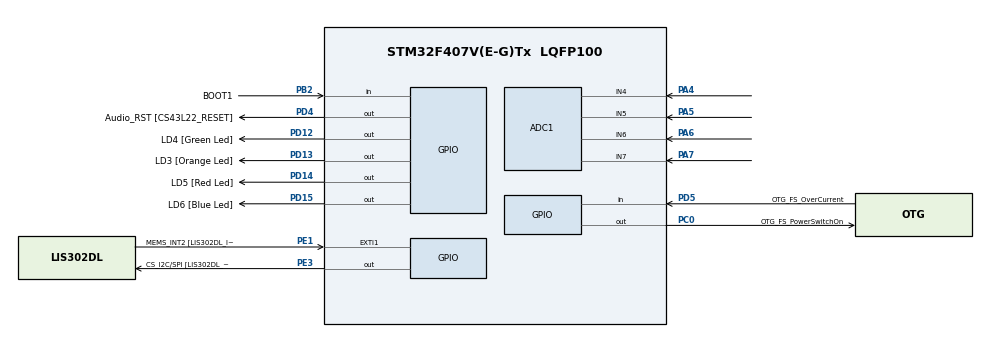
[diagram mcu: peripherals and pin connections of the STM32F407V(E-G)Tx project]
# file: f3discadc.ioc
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ADC1.Channel-5\#ChannelRegularConversion=ADC_CHANNEL_4
ADC1.Channel-6\#ChannelRegularConversion=ADC_CHANNEL_5
ADC1.Channel-7\#ChannelRegularConversion=ADC_CHANNEL_6
ADC1.Channel-8\#ChannelRegularConversion=ADC_CHANNEL_7
ADC1.ContinuousConvMode=ENABLE
ADC1.DMAContinuousRequests=ENABLE
ADC1.NbrOfConversion=4
ADC1.NbrOfConversionFlag=1
ADC1.Rank-5\#ChannelRegularConversion=1
ADC1.Rank-6\#ChannelRegularConversion=2
ADC1.Rank-7\#ChannelRegularConversion=3
ADC1.Rank-8\#ChannelRegularConversion=4
ADC1.SamplingTime-5\#ChannelRegularConversion=ADC_SAMPLETIME_15CYCLES
ADC1.SamplingTime-6\#ChannelRegularConversion=ADC_SAMPLETIME_15CYCLES
ADC1.SamplingTime-7\#ChannelRegularConversion=ADC_SAMPLETIME_15CYCLES
ADC1.SamplingTime-8\#ChannelRegularConversion=ADC_SAMPLETIME_15CYCLES
ADC1.master=1
Dma.ADC1.0.Direction=DMA_PERIPH_TO_MEMORY
Dma.ADC1.0.FIFOMode=DMA_FIFOMODE_DISABLE
Dma.ADC1.0.Instance=DMA2_Stream4
Dma.ADC1.0.MemDataAlignment=DMA_MDATAALIGN_HALFWORD
Dma.ADC1.0.MemInc=DMA_MINC_ENABLE
Dma.ADC1.0.Mode=DMA_CIRCULAR
Dma.ADC1.0.PeriphDataAlignment=DMA_PDATAALIGN_HALFWORD
Dma.ADC1.0.PeriphInc=DMA_PINC_DISABLE
Dma.ADC1.0.Priority=DMA_PRIORITY_LOW
Dma.Request0=ADC1
Mcu.Family=STM32F4
Mcu.Name=STM32F407V(E-G)Tx
Mcu.Package=LQFP100
NVIC.DMA2_Stream4_IRQn=true\:0\:0\:false\:false\:true\:false\:true
NVIC.PriorityGroup=NVIC_PRIORITYGROUP_0
PA0-WKUP.Signal=ADCx_IN0
PA10.GPIO_Label=OTG_FS_ID
PA10.GPIO_Mode=GPIO_MODE_AF_PP
PA10.GPIO_PuPd=GPIO_NOPULL
PA10.GPIO_Speed=GPIO_SPEED_FREQ_LOW
PA10.Signal=USB_OTG_FS_ID
PA11.GPIO_Label=OTG_FS_DM
PA11.GPIO_Mode=GPIO_MODE_AF_PP
PA11.GPIO_PuPd=GPIO_NOPULL
PA11.GPIO_Speed=GPIO_SPEED_FREQ_LOW
PA11.Signal=USB_OTG_FS_DM
PA12.GPIO_Label=OTG_FS_DP
PA12.GPIO_Mode=GPIO_MODE_AF_PP
PA12.GPIO_PuPd=GPIO_NOPULL
PA12.GPIO_Speed=GPIO_SPEED_FREQ_LOW
PA12.Signal=USB_OTG_FS_DP
PA13.GPIO_Label=SWDIO
PA13.Signal=SYS_JTMS-SWDIO
PA14.GPIO_Label=SWCLK
PA14.Signal=SYS_JTCK-SWCLK
PA4.Signal=ADCx_IN4
PA5.Signal=ADCx_IN5
PA6.Signal=ADCx_IN6
PA7.Signal=ADCx_IN7
PB10.GPIO_Label=CLK_IN [MP45DT02_CLK]
PB10.GPIO_Mode=GPIO_MODE_AF_PP
PB10.GPIO_PuPd=GPIO_NOPULL
PB10.GPIO_Speed=GPIO_SPEED_FREQ_LOW
PB10.Signal=I2S2_CK
PB2.GPIO_Label=BOOT1
PB2.GPIO_Mode=GPIO_MODE_INPUT
PB2.GPIO_PuPd=GPIO_NOPULL
PB2.Signal=GPIO_Input
PB3.GPIO_Label=SWO
PB3.Signal=SYS_JTDO-SWO
PB6.GPIO_Label=Audio_SCL [CS43L22_SCL]
PB6.GPIO_Mode=GPIO_MODE_AF_OD
PB6.GPIO_PuPd=GPIO_NOPULL
PB6.GPIO_Speed=GPIO_SPEED_FREQ_LOW
PB6.Signal=I2C1_SCL
PB9.GPIO_Label=Audio_SDA [CS43L22_SDA]
PB9.GPIO_Mode=GPIO_MODE_AF_OD
PB9.GPIO_PuPd=GPIO_NOPULL
PB9.GPIO_Speed=GPIO_SPEED_FREQ_LOW
PB9.Signal=I2C1_SDA
PC0.GPIO_Label=OTG_FS_PowerSwitchOn
PC0.GPIO_PuPd=GPIO_NOPULL
PC0.GPIO_Speed=GPIO_SPEED_FREQ_LOW
PC0.PinState=GPIO_PIN_SET
PC0.Signal=GPIO_Output
PC10.GPIO_Label=I2S3_SCK [CS43L22_SCLK]
PC10.GPIO_Mode=GPIO_MODE_AF_PP
PC10.GPIO_PuPd=GPIO_NOPULL
PC10.GPIO_Speed=GPIO_SPEED_FREQ_LOW
PC10.Signal=I2S3_CK
PC12.GPIO_Label=I2S3_SD [CS43L22_SDIN]
PC12.GPIO_Mode=GPIO_MODE_AF_PP
PC12.GPIO_PuPd=GPIO_NOPULL
PC12.GPIO_Speed=GPIO_SPEED_FREQ_LOW
PC12.Signal=I2S3_SD
PC14-OSC32_IN.GPIO_Label=PC14-OSC32_IN
PC14-OSC32_IN.Signal=RCC_OSC32_IN
PC15-OSC32_OUT.GPIO_Label=PC15-OSC32_OUT
PC15-OSC32_OUT.Signal=RCC_OSC32_OUT
PC3.GPIO_Label=PDM_OUT [MP45DT02_DOUT]
PC3.GPIO_Mode=GPIO_MODE_AF_PP
PC3.GPIO_PuPd=GPIO_NOPULL
PC3.GPIO_Speed=GPIO_SPEED_FREQ_LOW
PC3.Signal=I2S2_SD
PC7.GPIO_Label=I2S3_MCK [CS43L22_MCLK]
PC7.GPIO_Mode=GPIO_MODE_AF_PP
PC7.GPIO_PuPd=GPIO_NOPULL
PC7.GPIO_Speed=GPIO_SPEED_FREQ_LOW
PC7.Signal=I2S3_MCK
PD12.GPIO_Label=LD4 [Green Led]
PD12.GPIO_PuPd=GPIO_NOPULL
PD12.GPIO_Speed=GPIO_SPEED_FREQ_LOW
PD12.Signal=GPIO_Output
PD13.GPIO_Label=LD3 [Orange Led]
PD13.GPIO_PuPd=GPIO_NOPULL
PD13.GPIO_Speed=GPIO_SPEED_FREQ_LOW
PD13.Signal=GPIO_Output
PD14.GPIO_Label=LD5 [Red Led]
PD14.GPIO_PuPd=GPIO_NOPULL
PD14.GPIO_Speed=GPIO_SPEED_FREQ_LOW
PD14.Signal=GPIO_Output
PD15.GPIO_Label=LD6 [Blue Led]
PD15.GPIO_PuPd=GPIO_NOPULL
PD15.GPIO_Speed=GPIO_SPEED_FREQ_LOW
PD15.Signal=GPIO_Output
PD4.GPIO_Label=Audio_RST [CS43L22_RESET]
PD4.GPIO_PuPd=GPIO_NOPULL
PD4.GPIO_Speed=GPIO_SPEED_FREQ_LOW
PD4.Signal=GPIO_Output
PD5.GPIO_Label=OTG_FS_OverCurrent
PD5.GPIO_Mode=GPIO_MODE_INPUT
PD5.GPIO_PuPd=GPIO_NOPULL
PD5.Signal=GPIO_Input
PE1.GPIO_Label=MEMS_INT2 [LIS302DL_INT2]
PE1.GPIO_ModeDefaultEXTI=GPIO_MODE_EVT_RISING
PE1.GPIO_PuPd=GPIO_NOPULL
PE1.Signal=GPXTI1
PE3.GPIO_Label=CS_I2C/SPI [LIS302DL_CS_I2C/SPI]
PE3.GPIO_PuPd=GPIO_NOPULL
PE3.GPIO_Speed=GPIO_SPEED_FREQ_LOW
PE3.Signal=GPIO_Output
PH0-OSC_IN.GPIO_Label=PH0-OSC_IN
PH0-OSC_IN.Mode=HSE-External-Oscillator
PH0-OSC_IN.Signal=RCC_OSC_IN
PH1-OSC_OUT.GPIO_Label=PH1-OSC_OUT
PH1-OSC_OUT.Mode=HSE-External-Oscillator
PH1-OSC_OUT.Signal=RCC_OSC_OUT
ProjectManager.HeapSize=0x4000
ProjectManager.StackSize=0x4000
ProjectManager.TargetToolchain=STM32CubeIDE
RCC.48MHZClocksFreq_Value=48000000
RCC.AHBFreq_Value=168000000
RCC.APB1CLKDivider=RCC_HCLK_DIV4
RCC.APB1Freq_Value=42000000
RCC.APB1TimFreq_Value=84000000
RCC.APB2CLKDivider=RCC_HCLK_DIV2
RCC.APB2Freq_Value=84000000
RCC.APB2TimFreq_Value=168000000
RCC.CortexFreq_Value=168000000
RCC.HCLKFreq_Value=168000000
RCC.HSE_VALUE=8000000
RCC.HSI_VALUE=16000000
RCC.LSE_VALUE=32768
RCC.PLLM=4
RCC.PLLN=168
RCC.PLLQ=7
RCC.PLLSourceVirtual=RCC_PLLSOURCE_HSE
RCC.SYSCLKFreq_VALUE=168000000
RCC.SYSCLKSource=RCC_SYSCLKSOURCE_PLLCLK
RCC.VCOOutputFreq_Value=336000000
SH.ADCx_IN0.0=ADC1_IN0
SH.ADCx_IN4.0=ADC1_IN4,IN4
SH.ADCx_IN5.0=ADC1_IN5,IN5
SH.ADCx_IN6.0=ADC1_IN6,IN6
SH.ADCx_IN7.0=ADC1_IN7,IN7
board=STM32F407G-DISC1

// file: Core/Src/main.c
/* USER CODE BEGIN Header */
/**
 ******************************************************************************
 * @file           : main.c
 * @brief          : Main program body
 ******************************************************************************
 * @attention
 *
 * <h2><center>&copy; Copyright (c) 2020 STMicroelectronics.
 * All rights reserved.</center></h2>
 *
 * This software component is licensed by ST under BSD 3-Clause license,
 * the "License"; You may not use this file except in compliance with the
 * License. You may obtain a copy of the License at:
 *                        opensource.org/licenses/BSD-3-Clause
 *
 ******************************************************************************
 */
/* USER CODE END Header */

#include "main.h"

void SystemClock_Config(void);
static void MX_GPIO_Init(void);
static void MX_DMA_Init(void);
static void MX_ADC1_Init(void);

/* USER CODE BEGIN 0 */
volatile int s_flag = 0;
void hoge(void) {
	if (LL_DMA_IsActiveFlag_TC4(DMA2)) {
		LL_DMA_ClearFlag_TC4(DMA2);
		LL_ADC_ClearFlag_EOCS(ADC1);
		s_flag = 1;
	}
}
/* USER CODE END 0 */

int main(void)
{

  /* MCU Configuration--------------------------------------------------------*/

  /* Reset of all peripherals, Initializes the Flash interface and the Systick. */

  LL_APB2_GRP1_EnableClock(LL_APB2_GRP1_PERIPH_SYSCFG);
  LL_APB1_GRP1_EnableClock(LL_APB1_GRP1_PERIPH_PWR);

  NVIC_SetPriorityGrouping(NVIC_PRIORITYGROUP_0);

  /* System interrupt init*/

  /* Configure the system clock */
  SystemClock_Config();

  /* Initialize all configured peripherals */
  MX_GPIO_Init();
  MX_DMA_Init();
  MX_ADC1_Init();
  /* USER CODE BEGIN 2 */
	uint16_t data[4] = { 0 };
	LL_DMA_DisableStream(DMA2, LL_DMA_STREAM_4);
	LL_DMA_ConfigAddresses(DMA2, LL_DMA_STREAM_4,
			LL_ADC_DMA_GetRegAddr(ADC1, LL_ADC_DMA_REG_REGULAR_DATA),
			(uint32_t) data, LL_DMA_DIRECTION_PERIPH_TO_MEMORY);
	LL_DMA_SetDataLength(DMA2, LL_DMA_STREAM_4, sizeof(data) / sizeof(data[0]));
	LL_DMA_EnableStream(DMA2, LL_DMA_STREAM_4);
	LL_ADC_REG_StartConversionSWStart(ADC1);
	LL_DMA_EnableIT_TC(DMA2, LL_DMA_STREAM_4);
	LL_ADC_Enable(ADC1);
	LL_ADC_REG_StartConversionSWStart(ADC1);
  /* USER CODE END 2 */

  /* Infinite loop */
  /* USER CODE BEGIN WHILE */
	const uint16_t th = (1 << 11);
	while (1) {
    /* USER CODE END WHILE */

    /* USER CODE BEGIN 3 */
		while (s_flag == 0)
			;
		s_flag = 0;
		if (th <= data[0]) {
			LL_GPIO_SetOutputPin(GPIOD, LL_GPIO_PIN_12);
		} else {
			LL_GPIO_ResetOutputPin(GPIOD, LL_GPIO_PIN_12);
		}
		if (th <= data[1]) {
			LL_GPIO_SetOutputPin(GPIOD, LL_GPIO_PIN_13);
		} else {
			LL_GPIO_ResetOutputPin(GPIOD, LL_GPIO_PIN_13);
		}
		if (th <= data[2]) {
			LL_GPIO_SetOutputPin(GPIOD, LL_GPIO_PIN_14);
		} else {
			LL_GPIO_ResetOutputPin(GPIOD, LL_GPIO_PIN_14);
		}
		if (th <= data[3]) {
			LL_GPIO_SetOutputPin(GPIOD, LL_GPIO_PIN_15);
		} else {
			LL_GPIO_ResetOutputPin(GPIOD, LL_GPIO_PIN_15);
		}
	}
  /* USER CODE END 3 */
}

void SystemClock_Config(void)
{
  LL_FLASH_SetLatency(LL_FLASH_LATENCY_5);

  if(LL_FLASH_GetLatency() != LL_FLASH_LATENCY_5)
  {
  Error_Handler();
  }
  LL_PWR_SetRegulVoltageScaling(LL_PWR_REGU_VOLTAGE_SCALE1);
  LL_RCC_HSE_Enable();

   /* Wait till HSE is ready */
  while(LL_RCC_HSE_IsReady() != 1)
  {

  }
  LL_RCC_PLL_ConfigDomain_SYS(LL_RCC_PLLSOURCE_HSE, LL_RCC_PLLM_DIV_4, 168, LL_RCC_PLLP_DIV_2);
  LL_RCC_PLL_Enable();

   /* Wait till PLL is ready */
  while(LL_RCC_PLL_IsReady() != 1)
  {

  }
  LL_RCC_SetAHBPrescaler(LL_RCC_SYSCLK_DIV_1);
  LL_RCC_SetAPB1Prescaler(LL_RCC_APB1_DIV_4);
  LL_RCC_SetAPB2Prescaler(LL_RCC_APB2_DIV_2);
  LL_RCC_SetSysClkSource(LL_RCC_SYS_CLKSOURCE_PLL);

   /* Wait till System clock is ready */
  while(LL_RCC_GetSysClkSource() != LL_RCC_SYS_CLKSOURCE_STATUS_PLL)
  {

  }
  LL_Init1msTick(168000000);
  LL_SYSTICK_SetClkSource(LL_SYSTICK_CLKSOURCE_HCLK);
  LL_SetSystemCoreClock(168000000);
}

static void MX_ADC1_Init(void)
{

  LL_ADC_InitTypeDef ADC_InitStruct = {0};
  LL_ADC_REG_InitTypeDef ADC_REG_InitStruct = {0};
  LL_ADC_CommonInitTypeDef ADC_CommonInitStruct = {0};

  LL_GPIO_InitTypeDef GPIO_InitStruct = {0};

  /* Peripheral clock enable */
  LL_APB2_GRP1_EnableClock(LL_APB2_GRP1_PERIPH_ADC1);

  LL_AHB1_GRP1_EnableClock(LL_AHB1_GRP1_PERIPH_GPIOA);
  /**ADC1 GPIO Configuration
  PA0-WKUP   ------> ADC1_IN0
  PA4   ------> ADC1_IN4
  PA5   ------> ADC1_IN5
  PA6   ------> ADC1_IN6
  PA7   ------> ADC1_IN7
  */
  GPIO_InitStruct.Pin = LL_GPIO_PIN_0|LL_GPIO_PIN_4|LL_GPIO_PIN_5|LL_GPIO_PIN_6
                          |LL_GPIO_PIN_7;
  GPIO_InitStruct.Mode = LL_GPIO_MODE_ANALOG;
  GPIO_InitStruct.Pull = LL_GPIO_PULL_NO;
  LL_GPIO_Init(GPIOA, &GPIO_InitStruct);

  /* ADC1 DMA Init */

  /* ADC1 Init */
  LL_DMA_SetChannelSelection(DMA2, LL_DMA_STREAM_4, LL_DMA_CHANNEL_0);

  LL_DMA_SetDataTransferDirection(DMA2, LL_DMA_STREAM_4, LL_DMA_DIRECTION_PERIPH_TO_MEMORY);

  LL_DMA_SetStreamPriorityLevel(DMA2, LL_DMA_STREAM_4, LL_DMA_PRIORITY_LOW);

  LL_DMA_SetMode(DMA2, LL_DMA_STREAM_4, LL_DMA_MODE_CIRCULAR);

  LL_DMA_SetPeriphIncMode(DMA2, LL_DMA_STREAM_4, LL_DMA_PERIPH_NOINCREMENT);

  LL_DMA_SetMemoryIncMode(DMA2, LL_DMA_STREAM_4, LL_DMA_MEMORY_INCREMENT);

  LL_DMA_SetPeriphSize(DMA2, LL_DMA_STREAM_4, LL_DMA_PDATAALIGN_HALFWORD);

  LL_DMA_SetMemorySize(DMA2, LL_DMA_STREAM_4, LL_DMA_MDATAALIGN_HALFWORD);

  LL_DMA_DisableFifoMode(DMA2, LL_DMA_STREAM_4);

  /** Common config
  */
  ADC_InitStruct.Resolution = LL_ADC_RESOLUTION_12B;
  ADC_InitStruct.DataAlignment = LL_ADC_DATA_ALIGN_RIGHT;
  ADC_InitStruct.SequencersScanMode = LL_ADC_SEQ_SCAN_ENABLE;
  LL_ADC_Init(ADC1, &ADC_InitStruct);
  ADC_REG_InitStruct.TriggerSource = LL_ADC_REG_TRIG_SOFTWARE;
  ADC_REG_InitStruct.SequencerLength = LL_ADC_REG_SEQ_SCAN_ENABLE_4RANKS;
  ADC_REG_InitStruct.SequencerDiscont = LL_ADC_REG_SEQ_DISCONT_DISABLE;
  ADC_REG_InitStruct.ContinuousMode = LL_ADC_REG_CONV_CONTINUOUS;
  ADC_REG_InitStruct.DMATransfer = LL_ADC_REG_DMA_TRANSFER_UNLIMITED;
  LL_ADC_REG_Init(ADC1, &ADC_REG_InitStruct);
  LL_ADC_REG_SetFlagEndOfConversion(ADC1, LL_ADC_REG_FLAG_EOC_UNITARY_CONV);
  LL_ADC_DisableIT_EOCS(ADC1);
  ADC_CommonInitStruct.CommonClock = LL_ADC_CLOCK_SYNC_PCLK_DIV4;
  ADC_CommonInitStruct.Multimode = LL_ADC_MULTI_INDEPENDENT;
  LL_ADC_CommonInit(__LL_ADC_COMMON_INSTANCE(ADC1), &ADC_CommonInitStruct);
  /** Configure Regular Channel
  */
  LL_ADC_REG_SetSequencerRanks(ADC1, LL_ADC_REG_RANK_1, LL_ADC_CHANNEL_4);
  LL_ADC_SetChannelSamplingTime(ADC1, LL_ADC_CHANNEL_4, LL_ADC_SAMPLINGTIME_15CYCLES);
  /** Configure Regular Channel
  */
  LL_ADC_REG_SetSequencerRanks(ADC1, LL_ADC_REG_RANK_2, LL_ADC_CHANNEL_5);
  LL_ADC_SetChannelSamplingTime(ADC1, LL_ADC_CHANNEL_5, LL_ADC_SAMPLINGTIME_15CYCLES);
  /** Configure Regular Channel
  */
  LL_ADC_REG_SetSequencerRanks(ADC1, LL_ADC_REG_RANK_3, LL_ADC_CHANNEL_6);
  LL_ADC_SetChannelSamplingTime(ADC1, LL_ADC_CHANNEL_6, LL_ADC_SAMPLINGTIME_15CYCLES);
  /** Configure Regular Channel
  */
  LL_ADC_REG_SetSequencerRanks(ADC1, LL_ADC_REG_RANK_4, LL_ADC_CHANNEL_7);
  LL_ADC_SetChannelSamplingTime(ADC1, LL_ADC_CHANNEL_7, LL_ADC_SAMPLINGTIME_15CYCLES);

}

static void MX_DMA_Init(void)
{

  /* Init with LL driver */
  /* DMA controller clock enable */
  LL_AHB1_GRP1_EnableClock(LL_AHB1_GRP1_PERIPH_DMA2);

  /* DMA interrupt init */
  /* DMA2_Stream4_IRQn interrupt configuration */
  NVIC_SetPriority(DMA2_Stream4_IRQn, NVIC_EncodePriority(NVIC_GetPriorityGrouping(),0, 0));
  NVIC_EnableIRQ(DMA2_Stream4_IRQn);

}

static void MX_GPIO_Init(void)
{
  LL_EXTI_InitTypeDef EXTI_InitStruct = {0};
  LL_GPIO_InitTypeDef GPIO_InitStruct = {0};

  /* GPIO Ports Clock Enable */
  LL_AHB1_GRP1_EnableClock(LL_AHB1_GRP1_PERIPH_GPIOE);
  LL_AHB1_GRP1_EnableClock(LL_AHB1_GRP1_PERIPH_GPIOC);
  LL_AHB1_GRP1_EnableClock(LL_AHB1_GRP1_PERIPH_GPIOH);
  LL_AHB1_GRP1_EnableClock(LL_AHB1_GRP1_PERIPH_GPIOA);
  LL_AHB1_GRP1_EnableClock(LL_AHB1_GRP1_PERIPH_GPIOB);
  LL_AHB1_GRP1_EnableClock(LL_AHB1_GRP1_PERIPH_GPIOD);

  /**/
  LL_GPIO_ResetOutputPin(CS_I2C_SPI_GPIO_Port, CS_I2C_SPI_Pin);

  /**/
  LL_GPIO_ResetOutputPin(GPIOD, LD4_Pin|LD3_Pin|LD5_Pin|LD6_Pin
                          |Audio_RST_Pin);

  /**/
  LL_GPIO_SetOutputPin(OTG_FS_PowerSwitchOn_GPIO_Port, OTG_FS_PowerSwitchOn_Pin);

  /**/
  GPIO_InitStruct.Pin = CS_I2C_SPI_Pin;
  GPIO_InitStruct.Mode = LL_GPIO_MODE_OUTPUT;
  GPIO_InitStruct.Speed = LL_GPIO_SPEED_FREQ_LOW;
  GPIO_InitStruct.OutputType = LL_GPIO_OUTPUT_PUSHPULL;
  GPIO_InitStruct.Pull = LL_GPIO_PULL_NO;
  LL_GPIO_Init(CS_I2C_SPI_GPIO_Port, &GPIO_InitStruct);

  /**/
  GPIO_InitStruct.Pin = OTG_FS_PowerSwitchOn_Pin;
  GPIO_InitStruct.Mode = LL_GPIO_MODE_OUTPUT;
  GPIO_InitStruct.Speed = LL_GPIO_SPEED_FREQ_LOW;
  GPIO_InitStruct.OutputType = LL_GPIO_OUTPUT_PUSHPULL;
  GPIO_InitStruct.Pull = LL_GPIO_PULL_NO;
  LL_GPIO_Init(OTG_FS_PowerSwitchOn_GPIO_Port, &GPIO_InitStruct);

  /**/
  GPIO_InitStruct.Pin = PDM_OUT_Pin;
  GPIO_InitStruct.Mode = LL_GPIO_MODE_ALTERNATE;
  GPIO_InitStruct.Speed = LL_GPIO_SPEED_FREQ_LOW;
  GPIO_InitStruct.OutputType = LL_GPIO_OUTPUT_PUSHPULL;
  GPIO_InitStruct.Pull = LL_GPIO_PULL_NO;
  GPIO_InitStruct.Alternate = LL_GPIO_AF_5;
  LL_GPIO_Init(PDM_OUT_GPIO_Port, &GPIO_InitStruct);

  /**/
  GPIO_InitStruct.Pin = BOOT1_Pin;
  GPIO_InitStruct.Mode = LL_GPIO_MODE_INPUT;
  GPIO_InitStruct.Pull = LL_GPIO_PULL_NO;
  LL_GPIO_Init(BOOT1_GPIO_Port, &GPIO_InitStruct);

  /**/
  GPIO_InitStruct.Pin = CLK_IN_Pin;
  GPIO_InitStruct.Mode = LL_GPIO_MODE_ALTERNATE;
  GPIO_InitStruct.Speed = LL_GPIO_SPEED_FREQ_LOW;
  GPIO_InitStruct.OutputType = LL_GPIO_OUTPUT_PUSHPULL;
  GPIO_InitStruct.Pull = LL_GPIO_PULL_NO;
  GPIO_InitStruct.Alternate = LL_GPIO_AF_5;
  LL_GPIO_Init(CLK_IN_GPIO_Port, &GPIO_InitStruct);

  /**/
  GPIO_InitStruct.Pin = LD4_Pin|LD3_Pin|LD5_Pin|LD6_Pin
                          |Audio_RST_Pin;
  GPIO_InitStruct.Mode = LL_GPIO_MODE_OUTPUT;
  GPIO_InitStruct.Speed = LL_GPIO_SPEED_FREQ_LOW;
  GPIO_InitStruct.OutputType = LL_GPIO_OUTPUT_PUSHPULL;
  GPIO_InitStruct.Pull = LL_GPIO_PULL_NO;
  LL_GPIO_Init(GPIOD, &GPIO_InitStruct);

  /**/
  GPIO_InitStruct.Pin = I2S3_MCK_Pin|I2S3_SCK_Pin|I2S3_SD_Pin;
  GPIO_InitStruct.Mode = LL_GPIO_MODE_ALTERNATE;
  GPIO_InitStruct.Speed = LL_GPIO_SPEED_FREQ_LOW;
  GPIO_InitStruct.OutputType = LL_GPIO_OUTPUT_PUSHPULL;
  GPIO_InitStruct.Pull = LL_GPIO_PULL_NO;
  GPIO_InitStruct.Alternate = LL_GPIO_AF_6;
  LL_GPIO_Init(GPIOC, &GPIO_InitStruct);

  /**/
  GPIO_InitStruct.Pin = OTG_FS_ID_Pin|OTG_FS_DM_Pin|OTG_FS_DP_Pin;
  GPIO_InitStruct.Mode = LL_GPIO_MODE_ALTERNATE;
  GPIO_InitStruct.Speed = LL_GPIO_SPEED_FREQ_LOW;
  GPIO_InitStruct.OutputType = LL_GPIO_OUTPUT_PUSHPULL;
  GPIO_InitStruct.Pull = LL_GPIO_PULL_NO;
  GPIO_InitStruct.Alternate = LL_GPIO_AF_10;
  LL_GPIO_Init(GPIOA, &GPIO_InitStruct);

  /**/
  GPIO_InitStruct.Pin = OTG_FS_OverCurrent_Pin;
  GPIO_InitStruct.Mode = LL_GPIO_MODE_INPUT;
  GPIO_InitStruct.Pull = LL_GPIO_PULL_NO;
  LL_GPIO_Init(OTG_FS_OverCurrent_GPIO_Port, &GPIO_InitStruct);

  /**/
  GPIO_InitStruct.Pin = Audio_SCL_Pin|Audio_SDA_Pin;
  GPIO_InitStruct.Mode = LL_GPIO_MODE_ALTERNATE;
  GPIO_InitStruct.Speed = LL_GPIO_SPEED_FREQ_LOW;
  GPIO_InitStruct.OutputType = LL_GPIO_OUTPUT_OPENDRAIN;
  GPIO_InitStruct.Pull = LL_GPIO_PULL_UP;
  GPIO_InitStruct.Alternate = LL_GPIO_AF_4;
  LL_GPIO_Init(GPIOB, &GPIO_InitStruct);

  /**/
  LL_SYSCFG_SetEXTISource(LL_SYSCFG_EXTI_PORTE, LL_SYSCFG_EXTI_LINE1);

  /**/
  EXTI_InitStruct.Line_0_31 = LL_EXTI_LINE_1;
  EXTI_InitStruct.LineCommand = ENABLE;
  EXTI_InitStruct.Mode = LL_EXTI_MODE_EVENT;
  EXTI_InitStruct.Trigger = LL_EXTI_TRIGGER_RISING;
  LL_EXTI_Init(&EXTI_InitStruct);

  /**/
  LL_GPIO_SetPinPull(MEMS_INT2_GPIO_Port, MEMS_INT2_Pin, LL_GPIO_PULL_NO);

  /**/
  LL_GPIO_SetPinMode(MEMS_INT2_GPIO_Port, MEMS_INT2_Pin, LL_GPIO_MODE_INPUT);

}

void Error_Handler(void)
{
}

/************************ (C) COPYRIGHT STMicroelectronics *****END OF FILE****/
